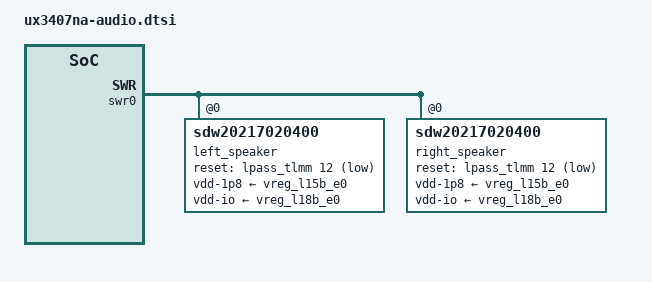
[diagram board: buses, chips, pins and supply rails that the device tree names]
// SPDX-License-Identifier: BSD-3-Clause
// Audio nodes adapted from Qualcomm UX3407NA v2, Bjorn Andersson, 2026.
/ {
	sound {
		compatible = "qcom,glymur-sndcard";
		model = "GLYMUR-ASUS-Zenbook-A14-UX3407NA";

		audio-routing = "SpkrLeft IN", "WSA WSA_SPK1 OUT",
				"SpkrRight IN", "WSA WSA_SPK2 OUT",
				"VA DMIC0", "vdd-micb",
				"VA DMIC1", "vdd-micb";

		va-dai-link {
			link-name = "VA Capture";

			codec {
				sound-dai = <&lpass_vamacro 0>;
			};

			cpu {
				sound-dai = <&q6apmbedai VA_CODEC_DMA_TX_0>;
			};

			platform {
				sound-dai = <&q6apm>;
			};
		};

		wsa-dai-link {
			link-name = "WSA Playback";

			codec {
				sound-dai = <&left_speaker>, <&right_speaker>,
					    <&swr0 0>, <&lpass_wsamacro 0>;
			};

			cpu {
				sound-dai = <&q6apmbedai WSA_CODEC_DMA_RX_0>;
			};

			platform {
				sound-dai = <&q6apm>;
			};
		};
	};
};
&swr0 {
	status = "okay";

	/* WSA8845, left */
	left_speaker: speaker@0,0 {
		compatible = "sdw20217020400";
		reg = <0 0>;
		reset-gpios = <&lpass_tlmm 12 GPIO_ACTIVE_LOW>;
		#sound-dai-cells = <0>;
		sound-name-prefix = "SpkrLeft";
		vdd-1p8-supply = <&vreg_l15b_e0>;
		vdd-io-supply = <&vreg_l18b_e0>;
		qcom,port-mapping = <1 2 3 7 12 14>;
	};

	/* WSA8845, right */
	right_speaker: speaker@0,1 {
		compatible = "sdw20217020400";
		reg = <0 1>;
		reset-gpios = <&lpass_tlmm 12 GPIO_ACTIVE_LOW>;
		#sound-dai-cells = <0>;
		sound-name-prefix = "SpkrRight";
		vdd-1p8-supply = <&vreg_l15b_e0>;
		vdd-io-supply = <&vreg_l18b_e0>;
		qcom,port-mapping = <4 5 6 7 13 15>;
	};
};
&swr3 { status = "disabled"; };
// btqca adds the qca/ directory to both property values.
&uart14 { bluetooth { firmware-name = "ornnv11.bin", "ornbtfw11.tlv"; }; };
